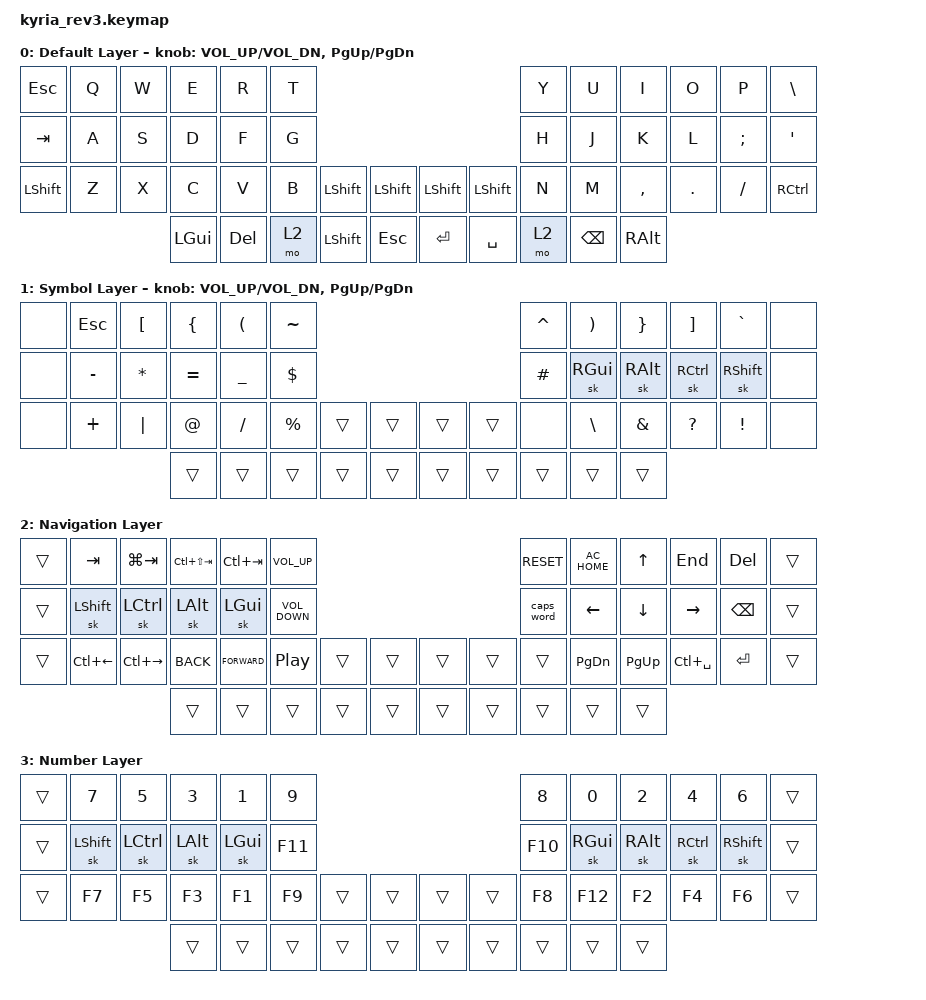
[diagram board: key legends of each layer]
/*
 * Copyright (c) 2023 The ZMK Contributors
 *
 * SPDX-License-Identifier: MIT
 */

#include <behaviors.dtsi>
#include <dt-bindings/zmk/keys.h>

/* Uncomment this block if using RGB
&led_strip {
    chain-length = <6>;
    // chain-length = <31>; // Uncomment if using both per-key and underglow LEDs
    // chain-length = <25>; // Uncomment if using only per-key LEDs.
};
 */

&sk { release-after-ms = <5000>; };

/ {
    behaviors {
        skq: skq {
            compatible = "zmk,behavior-sticky-key";
            label = "Sticky Key Quick";
            bindings = <&none>;
            #binding-cells = <1>;
            release-after-ms = <1000>;
            quick-release;
            ignore-modifiers;
        };
    };

    keymap {
        compatible = "zmk,keymap";

        default_layer {
            display-name = "Default Layer";

            // ---------------------------------------------------------------------------------------------------------------------------------
            // |  ESC  |  Q  |  W  |  E   |  R   |  T   |                                          |  Y   |  U    |  I    |  O   |   P   |   \  |
            // |  TAB  |  A  |  S  |  D   |  F   |  G   |                                          |  H   |  J    |  K    |  L   |   ;   |   '  |
            // | SHIFT |  Z  |  X  |  C   |  V   |  B   | L SHIFT | L SHIFT |  | L SHIFT | L SHIFT |  N   |  M    |  ,    |  .   |   /   | CTRL |
            //                     | GUI  | DEL  | RET  |  SPACE  |   ESC   |  |   RET   |  SPACE  | TAB  | BSPC  | R-ALT |

            bindings = <
&kp ESC    &kp Q  &kp W  &kp E     &kp R    &kp T                                                   &kp Y  &kp U     &kp I      &kp O    &kp P     &kp BSLH
&kp TAB    &kp A  &kp S  &kp D     &kp F    &kp G                                                   &kp H  &kp J     &kp K      &kp L    &kp SEMI  &kp SQT
&kp LSHFT  &kp Z  &kp X  &kp C     &kp V    &kp B  &kp LSHFT       &kp LSHFT  &kp LSHFT  &kp LSHFT  &kp N  &kp M     &kp COMMA  &kp DOT  &kp FSLH  &kp RCTRL
                         &kp LGUI  &kp DEL  &mo 2  &kp LEFT_SHIFT  &kp ESC    &kp RET    &kp SPACE  &mo 2  &kp BSPC  &kp RALT
            >;

            sensor-bindings = <&inc_dec_kp C_VOL_UP C_VOL_DN &inc_dec_kp PG_UP PG_DN>;
        };

        sym {
            display-name = "Symbol Layer";
            bindings = <
&none  &kp ESC    &kp LBKT      &kp LBRC   &kp LPAR   &kp TILDE                                    &kp CARET  &kp RPAR  &kp RBRC       &kp RBKT      &kp GRAVE  &none
&none  &kp MINUS  &kp ASTERISK  &kp EQUAL  &kp UNDER  &kp DOLLAR                                   &kp HASH   &sk RGUI  &sk RALT       &sk RCTRL     &sk RSHFT  &none
&none  &kp PLUS   &kp PIPE      &kp AT     &kp FSLH   &kp PERCENT  &trans  &trans  &trans  &trans  &none      &kp BSLH  &kp AMPERSAND  &kp QUESTION  &kp EXCL   &none
                                &trans     &trans     &trans       &trans  &trans  &trans  &trans  &trans     &trans    &trans
            >;

            sensor-bindings =
                <&inc_dec_kp C_VOL_UP C_VOL_DN>,
                <&inc_dec_kp PG_UP PG_DN>;
        };

        nav {
            bindings = <
&trans  &kp TAB       &kp LG(TAB)    &kp LC(LS(TAB))  &kp LC(TAB)    &kp C_VOLUME_UP                                    &kp C_RESET  &kp C_AC_HOME  &kp UP     &kp END        &kp DEL   &trans
&trans  &sk LSHFT     &sk LCTRL      &sk LALT         &sk LGUI       &kp C_VOLUME_DOWN                                  &caps_word   &kp LEFT       &kp DOWN   &kp RIGHT      &kp BSPC  &trans
&trans  &kp LC(LEFT)  &kp LC(RIGHT)  &kp K_BACK       &kp K_FORWARD  &kp C_PLAY_PAUSE   &trans  &trans  &trans  &trans  &trans       &kp PG_DN      &kp PG_UP  &kp LC(SPACE)  &kp RET   &trans
                                     &trans           &trans         &trans             &trans  &trans  &trans  &trans  &trans       &trans         &trans
            >;

            label = "Navigation Layer";
        };

        num {
            bindings = <
&trans  &kp N7     &kp N5     &kp N3    &kp N1    &kp N9                                   &kp N8   &kp N0    &kp N2    &kp N4     &kp N6     &trans
&trans  &sk LSHFT  &sk LCTRL  &sk LALT  &sk LGUI  &kp F11                                  &kp F10  &sk RGUI  &sk RALT  &sk RCTRL  &sk RSHFT  &trans
&trans  &kp F7     &kp F5     &kp F3    &kp F1    &kp F9   &trans  &trans  &trans  &trans  &kp F8   &kp F12   &kp F2    &kp F4     &kp F6     &trans
                              &trans    &trans    &trans   &trans  &trans  &trans  &trans  &trans   &trans    &trans
            >;

            label = "Number Layer";
        };
    };

    conditional_layers {
        compatible = "zmk,conditional-layers";

        ACTIVATE_NUM_LAYER {
            if-layers = <2 2>;
            then-layer = <3>;
        };
    };
};
